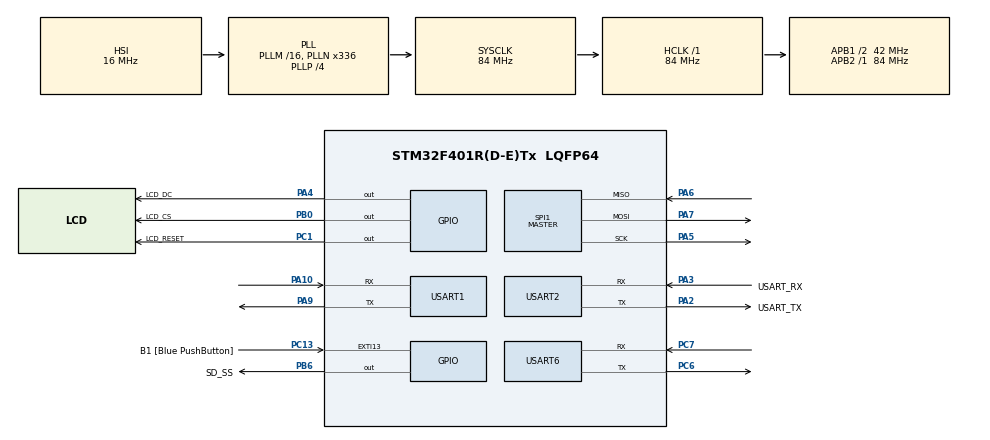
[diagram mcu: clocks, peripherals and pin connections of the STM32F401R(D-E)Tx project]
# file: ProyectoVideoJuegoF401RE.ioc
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FATFS._MAX_SS=4096
FATFS._USE_LFN=1
Mcu.Family=STM32F4
Mcu.Name=STM32F401R(D-E)Tx
Mcu.Package=LQFP64
NVIC.PriorityGroup=NVIC_PRIORITYGROUP_4
NVIC.USART1_IRQn=true\:0\:0\:false\:false\:true\:true\:true\:true
NVIC.USART6_IRQn=true\:0\:0\:false\:false\:true\:true\:true\:true
PA10.Mode=Asynchronous
PA10.Signal=USART1_RX
PA13.GPIO_Label=TMS
PA13.Mode=Trace_Asynchronous_SW
PA13.Signal=SYS_JTMS-SWDIO
PA14.GPIO_Label=TCK
PA14.Mode=Trace_Asynchronous_SW
PA14.Signal=SYS_JTCK-SWCLK
PA2.GPIO_Label=USART_TX
PA2.GPIO_Mode=GPIO_MODE_AF_PP
PA2.GPIO_PuPd=GPIO_NOPULL
PA2.GPIO_Speed=GPIO_SPEED_FREQ_LOW
PA2.Mode=Asynchronous
PA2.Signal=USART2_TX
PA3.GPIO_Label=USART_RX
PA3.GPIO_Mode=GPIO_MODE_AF_PP
PA3.GPIO_PuPd=GPIO_NOPULL
PA3.GPIO_Speed=GPIO_SPEED_FREQ_LOW
PA3.Mode=Asynchronous
PA3.Signal=USART2_RX
PA4.GPIO_Label=LCD_DC
PA4.Signal=GPIO_Output
PA5.Mode=Full_Duplex_Master
PA5.Signal=SPI1_SCK
PA6.Mode=Full_Duplex_Master
PA6.Signal=SPI1_MISO
PA7.Mode=Full_Duplex_Master
PA7.Signal=SPI1_MOSI
PA9.Mode=Asynchronous
PA9.Signal=USART1_TX
PB0.GPIO_Label=LCD_CS
PB0.Signal=GPIO_Output
PB3.GPIO_Label=SWO
PB3.Mode=Trace_Asynchronous_SW
PB3.Signal=SYS_JTDO-SWO
PB6.GPIO_Label=SD_SS
PB6.GPIO_Speed=GPIO_SPEED_FREQ_MEDIUM
PB6.PinState=GPIO_PIN_SET
PB6.Signal=GPIO_Output
PC1.GPIO_Label=LCD_RESET
PC1.Signal=GPIO_Output
PC13-ANTI_TAMP.GPIO_Label=B1 [Blue PushButton]
PC13-ANTI_TAMP.GPIO_ModeDefaultEXTI=GPIO_MODE_IT_FALLING
PC13-ANTI_TAMP.GPIO_PuPd=GPIO_NOPULL
PC13-ANTI_TAMP.Signal=GPXTI13
PC14-OSC32_IN.Mode=LSE-External-Oscillator
PC14-OSC32_IN.Signal=RCC_OSC32_IN
PC15-OSC32_OUT.Mode=LSE-External-Oscillator
PC15-OSC32_OUT.Signal=RCC_OSC32_OUT
PC6.Mode=Asynchronous
PC6.Signal=USART6_TX
PC7.Mode=Asynchronous
PC7.Signal=USART6_RX
PH0\ -\ OSC_IN.Mode=HSE-External-Clock-Source
PH0\ -\ OSC_IN.Signal=RCC_OSC_IN
PH1\ -\ OSC_OUT.Mode=HSE-External-Clock-Source
PH1\ -\ OSC_OUT.Signal=RCC_OSC_OUT
ProjectManager.HeapSize=0x200
ProjectManager.StackSize=0x400
ProjectManager.TargetToolchain=STM32CubeIDE
RCC.48MHZClocksFreq_Value=48000000
RCC.AHBFreq_Value=84000000
RCC.APB1CLKDivider=RCC_HCLK_DIV2
RCC.APB1Freq_Value=42000000
RCC.APB1TimFreq_Value=84000000
RCC.APB2Freq_Value=84000000
RCC.APB2TimFreq_Value=84000000
RCC.CortexFreq_Value=84000000
RCC.HCLKFreq_Value=84000000
RCC.HSE_VALUE=8000000
RCC.HSI_VALUE=16000000
RCC.PLLN=336
RCC.PLLP=RCC_PLLP_DIV4
RCC.PLLQ=7
RCC.SYSCLKFreq_VALUE=84000000
RCC.SYSCLKSource=RCC_SYSCLKSOURCE_PLLCLK
RCC.VCOOutputFreq_Value=336000000
SPI1.Direction=SPI_DIRECTION_2LINES
SPI1.Mode=SPI_MODE_MASTER
SPI1.VirtualType=VM_MASTER
USART1.VirtualMode=VM_ASYNC
USART2.VirtualMode=VM_ASYNC
USART6.VirtualMode=VM_ASYNC
VP_FATFS_VS_Generic.Mode=User_defined
board=NUCLEO-F401RE

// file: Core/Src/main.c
/* USER CODE BEGIN Header */
/**
  ******************************************************************************
  * @file           : main.c
  * @brief          : Main program body
  ******************************************************************************
  * @attention
  *
  * Copyright (c) 2026 STMicroelectronics.
  * All rights reserved.
  *
  * This software is licensed under terms that can be found in the LICENSE file
  * in the root directory of this software component.
  * If no LICENSE file comes with this software, it is provided AS-IS.
  *
  ******************************************************************************
  */
/* USER CODE END Header */
#include "main.h"
#include "fatfs.h"

/* USER CODE BEGIN Includes */
#include "ili9341.h"
#include "bitmaps.h"
#include <string.h>
#include <stdio.h>
#include "fatfs_sd.h"
#include "ff.h"
/* USER CODE END Includes */

SPI_HandleTypeDef hspi1;
//Definiciones de SD
FATFS fs;
FATFS *pfs;
FIL fil;
FRESULT fres;
DWORD fre_clust;
uint32_t totalSpace, freeSpace;
char buffer[100];

UART_HandleTypeDef huart1;
UART_HandleTypeDef huart2;
UART_HandleTypeDef huart6;

/* USER CODE BEGIN PV */
//Variables de comunicacion con controles UART1&3
char bufferU1[20];
uint8_t idx = 0;
uint8_t rx_char;
char bufferU6[20];
uint8_t idx6 = 0;
uint8_t rx_char6;
char linea[50];
//Banderas
volatile uint8_t newDataU1 = 0;
volatile uint8_t newDataU6 = 0;
uint8_t move=0;
//Variables de comunicacion con controles UART1&3
uint8_t bufferR[20];
uint8_t rxByte;
uint8_t rxIndex = 0;
uint8_t F_Start = 0;
uint8_t M1_F = 0;
uint8_t blqT[] = {32,192,64,16};
uint8_t sChange_F1 = 0;
uint8_t sChange_F2 = 0;
uint8_t Score1 = 0;
uint8_t Score2 = 0;
uint8_t moveFlag2=0;
//Variables de SD
uint8_t nivelA=0;
uint8_t countAAA=0;
//Sonidos
uint8_t moveFlag  = 0;
char    eventFlag = 'N';
uint8_t lastNivel = 0;
uint8_t lastMove  = 0;
char    lastEvent = 'N';
// Flags de juego
uint8_t plyrCount = 1;
uint8_t credit    = 0;
uint8_t GAMEWIN   = 0;
uint8_t llaveGet2 = 0;
uint8_t M2_F      = 0;
//Variables del juego
uint8_t llaveGet = 0;
uint16_t counterT = 0;
uint8_t dir = 0;
// Contador de tiempo para creditos
uint16_t creditTimer = 0;

// Cursor del menu
struct P_objeto cursor;
struct P_objeto cursorO;
struct P_objeto {
	uint16_t px;
	uint8_t py;
	uint8_t w;
	uint8_t h;
};

struct P_objeto PJ1;
struct P_objeto PJ1o;
// Jugador 2
struct P_objeto j2;
struct P_objeto j2o;
struct P_objeto blq1_PJ1;
struct P_objeto par1;
struct P_objeto par2;
struct P_objeto par3;
struct P_objeto par4;
struct P_objeto blq2_PJ1;
struct P_objeto blq3_PJ1;
struct P_objeto blq4_PJ1;
struct P_objeto blq5_PJ1;
struct P_objeto blq6_PJ1;
struct P_objeto blq7_PJ1;
struct P_objeto blq8_PJ1;
struct P_objeto blq9_PJ1;
struct P_objeto blq10_PJ1;
struct P_objeto blq11_PJ1;
struct P_objeto blq12_PJ1;
struct P_objeto blq13_PJ1;
struct P_objeto blq14_PJ1;
struct P_objeto blq15_PJ1;
struct P_objeto blq16_PJ1;
struct P_objeto blq17_PJ1;
struct P_objeto star1;
struct P_objeto llaveO;
struct P_objeto reja;
struct P_objeto spike1;
struct P_objeto spike2;
struct P_objeto mushroom1;
struct P_objeto shell1;
struct P_objeto shell2;
struct P_objeto shell3;
struct P_objeto shell4;
struct P_objeto shell5;
struct P_objeto shell6;
struct P_objeto shell7;
struct P_objeto shell8;
struct P_objeto par5;
/* USER CODE END PV */

void SystemClock_Config(void);
static void MX_GPIO_Init(void);
static void MX_SPI1_Init(void);
static void MX_USART1_UART_Init(void);
static void MX_USART2_UART_Init(void);
static void MX_USART6_UART_Init(void);
/* USER CODE BEGIN PFP */
uint8_t ColCheck(struct P_objeto ob1, struct P_objeto ob2);
void Draw_Level_Background(uint8_t nivel);
void transmitSonic(uint8_t nivel, uint8_t move, char event, char skin);
uint8_t ColCheckj2(struct P_objeto o1, struct P_objeto o2);
/* USER CODE END PFP */

/* USER CODE BEGIN 0 */
void transmitSonic(uint8_t nivel, uint8_t move, char event, char skin){
    char cadena[20];
    sprintf(cadena, "%d,%d,%c,%c\r\n", nivel, move, event, skin);
    HAL_UART_Transmit(&huart1, (uint8_t*)cadena, strlen(cadena), 200);
    countAAA++;
    if (countAAA==10){
    	HAL_UART_Transmit(&huart2, (uint8_t*)cadena, strlen(cadena), 200);
    	countAAA=0;
    }

}

void HAL_UART_RxCpltCallback(UART_HandleTypeDef *huart)
	{
	    if (huart->Instance == USART6)
	    {
	        if (rx_char6 == '\n') {
	            bufferU6[idx6] = '\0';
	            idx6 = 0;
	            newDataU6 = 1;
	        } else {
	            if (idx6 < sizeof(bufferU6) - 1)
	                bufferU6[idx6++] = rx_char6;
	        }

	        HAL_UART_Receive_IT(&huart6, &rx_char6, 1);
	    }
	    // USART1 - Jugador 2
	    if (huart->Instance == USART1)
	    {
	        if (rx_char == '\n') {
	            bufferU1[idx] = '\0';
	            idx = 0;
	            newDataU1 = 1;
	        } else {
	            if (idx < sizeof(bufferU1) - 1)
	                bufferU1[idx++] = rx_char;
	        }
	        HAL_UART_Receive_IT(&huart1, &rx_char, 1);
	    }
	}
/* USER CODE END 0 */

int main(void)
{

  /* USER CODE BEGIN 1 */
	// Cursor del menu

	PJ1.px = 128;
		PJ1.py = 208;
		PJ1.w = 16;
		PJ1.h = 16;

		PJ1o.px = 128;
		PJ1o.py = 208;
		PJ1o.w = 16;
		PJ1o.h = 16;

		blq1_PJ1.px = 32;
		blq1_PJ1.py = 192;
		blq1_PJ1.w = 64;
		blq1_PJ1.h = 16;

		blq2_PJ1.px = 64;
		blq2_PJ1.py = 176;
		blq2_PJ1.w = 64;
		blq2_PJ1.h = 16;

		blq3_PJ1.px = 64;
		blq3_PJ1.py = 160;
		blq3_PJ1.w = 16;
		blq3_PJ1.h = 16;

		blq4_PJ1.px = 32;
		blq4_PJ1.py = 128;
		blq4_PJ1.w = 16;
		blq4_PJ1.h = 48;

		blq5_PJ1.px = 48;
		blq5_PJ1.py = 128;
		blq5_PJ1.w = 16;
		blq5_PJ1.h = 16;

		blq6_PJ1.px = 80;
		blq6_PJ1.py = 144;
		blq6_PJ1.w = 48;
		blq6_PJ1.h = 16;

		blq7_PJ1.px = 112;
		blq7_PJ1.py = 112;
		blq7_PJ1.w = 16;
		blq7_PJ1.h = 48;

		blq8_PJ1.px = 64;
		blq8_PJ1.py = 96;
		blq8_PJ1.w = 16;
		blq8_PJ1.h = 48;

		blq9_PJ1.px = 32;
		blq9_PJ1.py = 80;
		blq9_PJ1.w = 16;
		blq9_PJ1.h = 32;

		blq10_PJ1.px = 48;
		blq10_PJ1.py = 80;
		blq10_PJ1.w = 16;
		blq10_PJ1.h = 16;

		blq11_PJ1.px = 80;
		blq11_PJ1.py = 80;
		blq11_PJ1.w = 16;
		blq11_PJ1.h = 48;

		blq12_PJ1.px = 96;
		blq12_PJ1.py = 80;
		blq12_PJ1.w = 32;
		blq12_PJ1.h = 16;

		blq13_PJ1.px = 112;
		blq13_PJ1.py = 48;
		blq13_PJ1.w = 16;
		blq13_PJ1.h = 32;

		blq14_PJ1.px = 128;
		blq14_PJ1.py = 32;
		blq14_PJ1.w = 16;
		blq14_PJ1.h = 16;

		blq15_PJ1.px = 32;
		blq15_PJ1.py = 48;
		blq15_PJ1.w = 64;
		blq15_PJ1.h = 16;

		blq16_PJ1.px = 32;
		blq16_PJ1.py = 16;
		blq16_PJ1.w = 80;
		blq16_PJ1.h = 16;

		blq17_PJ1.px = 80;
		blq17_PJ1.py = 32;
		blq17_PJ1.w = 16;
		blq17_PJ1.h = 16;

		par1.px = 0;
		par1.py = 0;
		par1.w = 144;
		par1.h = 16;

		par2.px = 0;
		par2.py = 16;
		par2.w = 16;
		par2.h = 208;

		par3.px = 0;
		par3.py = 224;
		par3.w = 144;
		par3.h = 16;

		par4.px = 144;
		par4.py = 0;
		par4.w = 32;
		par4.h = 240;

		star1.px = 128;
		star1.py = 16;
		star1.w = 16;
		star1.h = 16;
		//Juagor 2 y menu
		cursor.px = 112; cursor.py = 128; cursor.w = 16; cursor.h = 16;
		cursorO.px = 112; cursorO.py = 128; cursorO.w = 16; cursorO.h = 16;

		// Jugador 2
		j2.px = 288; j2.py = 208; j2.w = 16; j2.h = 16;
		j2o.px = 288; j2o.py = 208; j2o.w = 16; j2o.h = 16;

		// Paredes del lado derecho para j2
		par5.px = 304; par5.py = 16; par5.w = 16; par5.h = 240;

		//Lógica de nivel 2 y 3
		llaveO.px = 16;  llaveO.py = 192; llaveO.w = 16;  llaveO.h = 16;
		reja.px = 128;   reja.py = 192;   reja.w = 16;    reja.h = 16;
		spike1.px = 96;  spike1.py = 16;  spike1.w = 16;  spike1.h = 16;
		spike2.px = 32;  spike2.py = 64;  spike2.w = 16;  spike2.h = 16;

		mushroom1.px = 128; mushroom1.py = 208; mushroom1.h = 128; mushroom1.w = 128;

		shell1.px = 48;  shell1.py = 160; shell1.w = 16;  shell1.h = 16;
		shell2.px = 80;  shell2.py = 176; shell2.w = 16;  shell2.h = 16;
		shell3.px = 96;  shell3.py = 144; shell3.w = 16;  shell3.h = 16;
		shell4.px = 64;  shell4.py = 128; shell4.w = 16;  shell4.h = 16;
		shell5.px = 48;  shell5.py = 80;  shell5.w = 16;  shell5.h = 16;
		shell6.px = 80;  shell6.py = 96;  shell6.w = 16;  shell6.h = 16;
		shell7.px = 96;  shell7.py = 64;  shell7.w = 16;  shell7.h = 16;
		shell8.px = 64;  shell8.py = 48;  shell8.w = 16;  shell8.h = 16;

		// Bloques nivel 2
		struct P_objeto blq18_PJ1; // declarar arriba en PV también
		blq18_PJ1.px = 16;  blq18_PJ1.py = 16;  blq18_PJ1.w = 80;  blq18_PJ1.h = 16;
		// blq19 ya existe como blq16 en el doc2, renombrar o agregar:
		struct P_objeto blq19_PJ1;
		blq19_PJ1.px = 32;  blq19_PJ1.py = 16;  blq19_PJ1.w = 80;  blq19_PJ1.h = 16;

		struct P_objeto blq20_PJ1;
		blq20_PJ1.px = 48;  blq20_PJ1.py = 64;  blq20_PJ1.w = 64;  blq20_PJ1.h = 16;

		struct P_objeto blq21_PJ1;
		blq21_PJ1.px = 32;  blq21_PJ1.py = 96;  blq21_PJ1.w = 112; blq21_PJ1.h = 32;

		struct P_objeto blq22_PJ1;
		blq22_PJ1.px = 16;  blq22_PJ1.py = 144; blq22_PJ1.w = 112; blq22_PJ1.h = 16;

		struct P_objeto blq23_PJ1;
		blq23_PJ1.px = 112; blq23_PJ1.py = 192; blq23_PJ1.w = 16;  blq23_PJ1.h = 32;

		// Bloques nivel 3
		struct P_objeto blq24_PJ1;
		blq24_PJ1.px = 16;  blq24_PJ1.py = 16;  blq24_PJ1.w = 32;  blq24_PJ1.h = 208;

		struct P_objeto blq25_PJ1;
		blq25_PJ1.px = 112; blq25_PJ1.py = 16;  blq25_PJ1.w = 32;  blq25_PJ1.h = 208;

		struct P_objeto blq26_PJ1;
		blq26_PJ1.px = 48;  blq26_PJ1.py = 208; blq26_PJ1.w = 16;  blq26_PJ1.h = 16;

		struct P_objeto blq27_PJ1;
		blq27_PJ1.px = 96;  blq27_PJ1.py = 208; blq27_PJ1.w = 16;  blq27_PJ1.h = 16;

		struct P_objeto blq28_PJ1;
		blq28_PJ1.px = 64;  blq28_PJ1.py = 144; blq28_PJ1.w = 32;  blq28_PJ1.h = 32;

		struct P_objeto blq29_PJ1;
		blq29_PJ1.px = 64;  blq29_PJ1.py = 64;  blq29_PJ1.w = 32;  blq29_PJ1.h = 32;

		struct P_objeto blq30_PJ1;
		blq30_PJ1.px = 48;  blq30_PJ1.py = 112; blq30_PJ1.w = 16;  blq30_PJ1.h = 16;

		struct P_objeto blq31_PJ1;
		blq31_PJ1.px = 96;  blq31_PJ1.py = 112; blq31_PJ1.w = 16;  blq31_PJ1.h = 16;

		struct P_objeto blq32_PJ1;
		blq32_PJ1.px = 48;  blq32_PJ1.py = 16;  blq32_PJ1.w = 16;  blq32_PJ1.h = 32;

		struct P_objeto blq33_PJ1;
		blq33_PJ1.px = 96;  blq33_PJ1.py = 16;  blq33_PJ1.w = 16;  blq33_PJ1.h = 32;
  /* USER CODE END 1 */

  /* MCU Configuration--------------------------------------------------------*/

  /* Reset of all peripherals, Initializes the Flash interface and the Systick. */
  HAL_Init();

  /* Configure the system clock */
  SystemClock_Config();

  /* Initialize all configured peripherals */
  MX_GPIO_Init();
  MX_SPI1_Init();
  MX_USART1_UART_Init();
  MX_USART2_UART_Init();
  MX_USART6_UART_Init();
  MX_FATFS_Init();
  /* USER CODE BEGIN 2 */
  HAL_UART_Receive_IT(&huart2, &rxByte, 1);
  HAL_UART_Receive_IT(&huart1, &rx_char, 1);
  HAL_UART_Receive_IT(&huart6, &rx_char6, 1);

  LCD_Init();

  transmitSonic(0, 0, 'N', 0);

  Draw_Level_Background(nivelA);  // Mostrar el menu nómas inciar
  /* USER CODE END 2 */
  //LCD_Init();
 // LCD_Clear(0x0000);
  // Ahora dibujar el fondo desde SD ya leída, o bitmap en flash como fallback
  //LCD_Bitmap(112, 224, 16, 16, zero1);
  // Justo antes del while, define esta etiqueta de reset
  // Al final del bloque de boton B existente, cambia el goto por una llamada

  reset_menu:
      Score1    = 0;
      Score2    = 0;
      llaveGet  = 0;
      llaveGet2 = 0;
      counterT  = 0;
      dir       = 0;
      GAMEWIN   = 0;
      moveFlag  = 0;
      eventFlag = 'N';
      lastNivel = 0;
      lastMove  = 0;
      lastEvent = 'N';
      sChange_F1 = 0;
      sChange_F2 = 0;
      PJ1.px = 128; PJ1.py = 208;
      PJ1o.px = PJ1.px; PJ1o.py = PJ1.py;
      j2.px = 288; j2.py = 208;
      j2o.px = j2.px; j2o.py = j2.py;
      spike1.px = 96;  spike1.py = 16;
      spike2.px = 32;  spike2.py = 64;
      shell1.px = 48;  shell1.py = 160;
      shell2.px = 80;  shell2.py = 176;
      shell3.px = 96;  shell3.py = 144;
      shell4.px = 64;  shell4.py = 128;
      shell5.px = 48;  shell5.py = 80;
      shell6.px = 80;  shell6.py = 96;
      shell7.px = 96;  shell7.py = 64;
      shell8.px = 64;  shell8.py = 48;
      cursor.px  = 112; cursor.py  = 128;
      cursorO.px = 112; cursorO.py = 128;
      plyrCount  = 0;
      nivelA = 0;
      credit = 0;
      transmitSonic(0, 0, 'N', '0');
      Draw_Level_Background(0);

  /* Infinite loop */
  /* USER CODE BEGIN WHILE */
  while (1)
  {
	  // ============================================================
	  // CONTROLES
	  // ============================================================
	  if (GAMEWIN != 0){
	        // Esperar boton B de cualquier jugador para volver al menu
	        if (newDataU6)
	        {
	            newDataU6 = 0;
	            int U, R, L, D, X, A, B, Y;
	            sscanf(bufferU6, "P1:U%dR%dL%dD%dX%dA%dB%dY%d",
	                             &U, &R, &L, &D, &X, &A, &B, &Y);
	            if (B == 1) { GAMEWIN = 0; goto reset_menu; }
	        }
	        continue;  // no ejecutar nada mas del while
	    }

      if (newDataU6)
      {
          newDataU6 = 0;
          int U, R, L, D, X, A, B, Y;
          sscanf(bufferU6, "P1:U%dR%dL%dD%dX%dA%dB%dY%d",
                           &U, &R, &L, &D, &X, &A, &B, &Y);

          //Bloque para regresar al menu principal con el control

          if (B == 1) { GAMEWIN = 0; goto reset_menu; }

          if (nivelA==0 && credit==0){
        	  // Mover cursor arriba/abajo
			  if (D == 1) { cursor.py += 16; }
			  if (U == 1) { cursor.py -= 16; }

			  // Wrap del cursor entre las 3 opciones (py 128, 144, 160)
			  if (cursor.py > 160) { cursor.py = 128; }
			  if (cursor.py < 128) { cursor.py = 160; }

			  // Confirmar seleccion con boton X
			  if (X == 1) { F_Start = 1; }

			  M1_F = 1;
          }
          else if (credit == 0 && nivelA != 0)
		  {
        	  /* moveFlag solo si hubo input real del jugador */
			  if (D == 1 || U == 1 || L == 1 || R == 1)
			  {
				  if (D == 1) { PJ1.py += 16; }
				  if (U == 1) { PJ1.py -= 16; }
				  if (L == 1) { PJ1.px -= 16; }
				  if (R == 1) { PJ1.px += 16; }
				  moveFlag = 1;
			  }

			  // Colisiones y logica de niveles van aqui despues
			  // ...

		  }

     }

      // ============================================================
      // Segundo PLayer
      // ============================================================

      if (newDataU1)
	  {
              newDataU1 = 0;

              int U2, R2, L2, D2, X2, A2, B2, Y2;
              sscanf(bufferU1, "P2:U%dR%dL%dD%dX%dA%dB%dY%d",
                               &U2, &R2, &L2, &D2, &X2, &A2, &B2, &Y2);

              if (nivelA != 0 && credit == 0)
              {
            	  /* moveFlag solo si hubo input real del jugador */
				  if (D2 == 1 || U2 == 1 || L2 == 1 || R2 == 1)
				  {
					  if (D2 == 1) { j2.py += 16; }
					  if (U2 == 1) { j2.py -= 16; }
					  if (L2 == 1) { j2.px -= 16; }
					  if (R2 == 1) { j2.px += 16; }
					  moveFlag2=1;
				  }
              }

              uint8_t coli2  = 1;
              uint8_t coliW2 = 1;
              uint8_t coliK2 = 1;

              if (nivelA == 1)
              {
                  switch (j2.py)
                  {
                  case 224: coli2 &= ColCheckj2(j2, par3); break;
                  case 208:
                  case 192: coli2 &= ColCheckj2(j2, blq1_PJ1); break;
                  case 176: coli2 &= ColCheckj2(j2, blq2_PJ1); break;
                  case 160:
                      coli2 &= ColCheckj2(j2, blq3_PJ1);
                      coli2 &= ColCheckj2(j2, blq4_PJ1); break;
                  case 144:
                      coli2 &= ColCheckj2(j2, blq4_PJ1);
                      coli2 &= ColCheckj2(j2, blq6_PJ1); break;
                  case 128:
                      coli2 &= ColCheckj2(j2, blq4_PJ1);
                      coli2 &= ColCheckj2(j2, blq5_PJ1); break;
                  case 112:
                      coli2 &= ColCheckj2(j2, blq7_PJ1);
                      coli2 &= ColCheckj2(j2, blq11_PJ1); break;
                  case 96:
                      coli2 &= ColCheckj2(j2, blq9_PJ1);
                      coli2 &= ColCheckj2(j2, blq11_PJ1); break;
                  case 80:
                      coli2 &= ColCheckj2(j2, blq9_PJ1);
                      coli2 &= ColCheckj2(j2, blq10_PJ1);
                      coli2 &= ColCheckj2(j2, blq11_PJ1);
                      coli2 &= ColCheckj2(j2, blq12_PJ1); break;
                  case 64:
                      coli2 &= ColCheckj2(j2, blq11_PJ1);
                      coli2 &= ColCheckj2(j2, blq13_PJ1); break;
                  case 48:
                      coli2 &= ColCheckj2(j2, blq13_PJ1);
                      coli2 &= ColCheckj2(j2, blq15_PJ1); break;
                  case 32:
                      coli2 &= ColCheckj2(j2, blq14_PJ1);
                      coli2 &= ColCheckj2(j2, blq17_PJ1); break;
                  case 16:
                      coli2 &= ColCheckj2(j2, blq16_PJ1);
                      coliW2 &= ColCheckj2(j2, star1); break;
                  case 0: coli2 &= ColCheckj2(j2, par1); break;
                  }
              }
              else if (nivelA == 2)
              {
                  switch (j2.py)
                  {
                  case 224: coli2 &= ColCheckj2(j2, par3); break;
                  case 208:
                      coli2  &= ColCheckj2(j2, blq23_PJ1);
                      coliW2 &= ColCheckj2(j2, mushroom1);
                  case 192:
                      coli2  &= ColCheckj2(j2, blq23_PJ1);
                      coliK2 &= ColCheckj2(j2, llaveO);
                      if (llaveGet2 == 0) coli2 &= ColCheckj2(j2, reja);
                      break;
                  case 176:
                  case 160:
                  case 144: coli2 &= ColCheckj2(j2, blq22_PJ1); break;
                  case 128:
                  case 112:
                  case 96:  coli2 &= ColCheckj2(j2, blq21_PJ1); break;
                  case 80:  coli2 &= ColCheckj2(j2, spike2);
                  case 64:
                      coli2 &= ColCheckj2(j2, blq20_PJ1);
                      coli2 &= ColCheckj2(j2, spike2); break;
                  case 48:  coli2 &= ColCheckj2(j2, blq19_PJ1); break;
                  case 32:  coli2 &= ColCheckj2(j2, spike1);
                  case 16:
                      coli2 &= ColCheckj2(j2, blq18_PJ1);
                      coli2 &= ColCheckj2(j2, spike1);
                  case 0:   coli2 &= ColCheckj2(j2, par1); break;
                  }
                  if (coliK2 == 0) {llaveGet2 = 1;}
              }
              else if (nivelA == 3)
              {
                  uint8_t coliD2 = 1;
                  switch (j2.py)
                  {
                  case 224: coli2 &= ColCheckj2(j2, par3); break;
                  case 208:
                      coli2 &= ColCheckj2(j2, blq26_PJ1);
                      coli2 &= ColCheckj2(j2, blq27_PJ1);
                  case 192:
                  case 176:
                      coliD2 &= ColCheckj2(j2, shell1); coliD2 &= ColCheckj2(j2, shell2);
                      coliD2 &= ColCheckj2(j2, shell3); coliD2 &= ColCheckj2(j2, shell4); break;
                  case 160:
                  case 144:
                      coli2  &= ColCheckj2(j2, blq28_PJ1);
                      coliD2 &= ColCheckj2(j2, shell1); coliD2 &= ColCheckj2(j2, shell2);
                      coliD2 &= ColCheckj2(j2, shell3); coliD2 &= ColCheckj2(j2, shell4); break;
                  case 128:
                      coliD2 &= ColCheckj2(j2, shell1); coliD2 &= ColCheckj2(j2, shell2);
                      coliD2 &= ColCheckj2(j2, shell3); coliD2 &= ColCheckj2(j2, shell4); break;
                  case 112:
                      coli2 &= ColCheckj2(j2, blq30_PJ1);
                      coli2 &= ColCheckj2(j2, blq31_PJ1); break;
                  case 96:
                      coliD2 &= ColCheckj2(j2, shell5); coliD2 &= ColCheckj2(j2, shell6);
                      coliD2 &= ColCheckj2(j2, shell7); coliD2 &= ColCheckj2(j2, shell8); break;
                  case 80:
                      coli2  &= ColCheckj2(j2, blq29_PJ1);
                      coliD2 &= ColCheckj2(j2, shell5); coliD2 &= ColCheckj2(j2, shell6);
                      coliD2 &= ColCheckj2(j2, shell7); coliD2 &= ColCheckj2(j2, shell8); break;
                  case 64:
                      coli2  &= ColCheckj2(j2, blq29_PJ1);
                      coliD2 &= ColCheckj2(j2, shell5); coliD2 &= ColCheckj2(j2, shell6);
                      coliD2 &= ColCheckj2(j2, shell7); coliD2 &= ColCheckj2(j2, shell8); break;
                  case 48:
                      coliD2 &= ColCheckj2(j2, shell5); coliD2 &= ColCheckj2(j2, shell6);
                      coliD2 &= ColCheckj2(j2, shell7); coliD2 &= ColCheckj2(j2, shell8); break;
                  case 32:
                  case 16:
                      coli2 &= ColCheckj2(j2, blq32_PJ1);
                      coli2 &= ColCheckj2(j2, blq33_PJ1); break;
                  case 0: coli2 &= ColCheckj2(j2, par1); break;
                  }
                  coli2 &= ColCheckj2(j2, blq24_PJ1);
                  coli2 &= ColCheckj2(j2, blq25_PJ1);

                  if (coliD2 == 0)
                  {
                      j2.px = 244; j2.py = 208;
                      j2o.px = j2.px; j2o.py = j2.py;
                      moveFlag = 0;
                          /* Muerte j2 por shell — notificar con '1' */
                          eventFlag = 'K';
                          transmitSonic(nivelA, moveFlag, eventFlag, '1');
                  }
              }

              coli2 &= ColCheck(j2, par5);
              coli2 &= ColCheck(j2, par4);

              // Revertir posicion si colisiona
              if (coli2 == 0)
              {
                  j2.px = j2o.px;
                  j2.py = j2o.py;
                  transmitSonic(nivelA, 0, 'M', '1');
              }
              else { M2_F = 1; }

              if (coliW2 == 0) { sChange_F2 = 1; Score2++; }
          }

      // ============================================================
      // RENDER MENU
      // ============================================================
      if (nivelA == 0 && credit == 0)
      {
          // Dibujar cursor en posicion actual
          LCD_Sprite(cursor.px, cursor.py, 16, 16, slime, 1, 1, 0, 0);

          // Borrar posicion anterior del cursor
          if (M1_F == 1)
          {
              LCD_Bitmap(cursorO.px, cursorO.py, 16, 16, cursorT);
              cursorO.px = cursor.px;
              cursorO.py = cursor.py;
              M1_F = 0;
          }
      }

      // ============================================================
      // SELECCION DE MENU
      // ============================================================
      if (F_Start == 1)
      {
          F_Start = 0;

          if (cursor.py == 128)
          {
              // Opcion 1 — 1 jugador
              plyrCount = 1;

              nivelA = 1;
              transmitSonic(0, 0, 'S', '0');
              Draw_Level_Background(1);
              LCD_Bitmap(112, 224, 16, 16, zero1);
              PJ1.px = 128; PJ1.py = 208;
              PJ1o.px = PJ1.px; PJ1o.py = PJ1.py;
              transmitSonic(nivelA, 0, 'S', '0');

          }
          else if (cursor.py == 144)
          {
              // Opcion 2 — 2 jugadores
              plyrCount = 2;

              nivelA = 1;
              transmitSonic(0, 0, 'S', '0');
              Draw_Level_Background(1);
              LCD_Bitmap(112, 224, 16, 16, zero1);
              LCD_Bitmap(272, 224, 16, 16, zero1);
              PJ1.px = 128; PJ1.py = 208;
              PJ1o.px = PJ1.px; PJ1o.py = PJ1.py;
              transmitSonic(nivelA, 0, 'S', '0');
          }
          else if (cursor.py == 160)
          {
        	  // Creditos
        	  credit = 1;
        	  creditTimer = 0;
        	  transmitSonic(0, 0, 'S', '0');
        	  Draw_Level_Background(4);
          }
      }

      // ============================================================
      // TIMER CREDITOS — regresa al menu automaticamente
      // ============================================================
      if (credit > 0)
      {
          creditTimer++;
          // Tiempo de espera — ajusta el valor segun la velocidad de tu while
          if (creditTimer >= 5000)
          {
              credit     = 0;
              creditTimer = 0;
              nivelA     = 0;
              cursor.px  = 112; cursor.py  = 128;
              cursorO.px = 112; cursorO.py = 128;
              transmitSonic(0, 0, 'S', '0');
              Draw_Level_Background(0);
          }
      }

      // ============================================================
      // LOGICA DE NIVELES — placeholder hasta que la agreguemos
      // ============================================================
      if (nivelA != 0 && credit == 0)
      {
    	  // ============================
    	  // LOGICA DE COLISIONES
    	  // ============================
    	  if (PJ1o.py != PJ1.py || PJ1o.px != PJ1.px)
    	  {
    	      int8_t coli = 1;
    	      uint8_t coliW = 1;

    	      if (nivelA == 1)
    	      {
    	          switch (PJ1.py)
    	          {
    	          case 224: coli &= ColCheck(PJ1, par3); break;
    	          case 208:
    	          case 192: coli &= ColCheck(PJ1, blq1_PJ1); break;
    	          case 176: coli &= ColCheck(PJ1, blq2_PJ1); break;
    	          case 160:
    	              coli &= ColCheck(PJ1, blq3_PJ1);
    	              coli &= ColCheck(PJ1, blq4_PJ1); break;
    	          case 144:
    	              coli &= ColCheck(PJ1, blq4_PJ1);
    	              coli &= ColCheck(PJ1, blq6_PJ1); break;
    	          case 128:
    	              coli &= ColCheck(PJ1, blq4_PJ1);
    	              coli &= ColCheck(PJ1, blq5_PJ1); break;
    	          case 112:
    	              coli &= ColCheck(PJ1, blq7_PJ1);
    	              coli &= ColCheck(PJ1, blq11_PJ1); break;
    	          case 96:
    	              coli &= ColCheck(PJ1, blq9_PJ1);
    	              coli &= ColCheck(PJ1, blq11_PJ1); break;
    	          case 80:
    	              coli &= ColCheck(PJ1, blq9_PJ1);
    	              coli &= ColCheck(PJ1, blq10_PJ1);
    	              coli &= ColCheck(PJ1, blq11_PJ1);
    	              coli &= ColCheck(PJ1, blq12_PJ1); break;
    	          case 64:
    	              coli &= ColCheck(PJ1, blq11_PJ1);
    	              coli &= ColCheck(PJ1, blq13_PJ1); break;
    	          case 48:
    	              coli &= ColCheck(PJ1, blq13_PJ1);
    	              coli &= ColCheck(PJ1, blq15_PJ1); break;
    	          case 32:
    	              coli &= ColCheck(PJ1, blq14_PJ1);
    	              coli &= ColCheck(PJ1, blq17_PJ1); break;
    	          case 16:
    	              coli &= ColCheck(PJ1, blq16_PJ1);
    	              coliW &= ColCheck(PJ1, star1); break;
    	          case 0: coli &= ColCheck(PJ1, par1); break;
    	          }
    	      }
    	      else if (nivelA == 2)
    	      {
    	          uint8_t coliK = 1;
    	          switch (PJ1.py)
    	          {
    	          case 224: coli &= ColCheck(PJ1, par3); break;
    	          case 208:
    	              coli  &= ColCheck(PJ1, blq23_PJ1);
    	              coliW &= ColCheck(PJ1, mushroom1);
    	          case 192:
    	              coli  &= ColCheck(PJ1, blq23_PJ1);
    	              coliK &= ColCheck(PJ1, llaveO);
    	              if (llaveGet == 0) coli &= ColCheck(PJ1, reja);
    	              break;
    	          case 176:
    	          case 160:
    	          case 144: coli &= ColCheck(PJ1, blq22_PJ1); break;
    	          case 128:
    	          case 112:
    	          case 96:  coli &= ColCheck(PJ1, blq21_PJ1); break;
    	          case 80:  coli &= ColCheck(PJ1, spike2);
    	          case 64:
    	              coli &= ColCheck(PJ1, blq20_PJ1);
    	              coli &= ColCheck(PJ1, spike2); break;
    	          case 48:  coli &= ColCheck(PJ1, blq19_PJ1); break;
    	          case 32:  coli &= ColCheck(PJ1, spike1);
    	          case 16:
    	              coli &= ColCheck(PJ1, blq18_PJ1);
    	              coli &= ColCheck(PJ1, spike1);
    	          case 0:   coli &= ColCheck(PJ1, par1); break;
    	          }
    	          if (coliK == 0) llaveGet = 1;
    	      }
    	      else if (nivelA == 3)
    	      {
    	          uint8_t coliD = 1;
    	          switch (PJ1.py)
    	          {
    	          case 224: coli &= ColCheck(PJ1, par3); break;
    	          case 208:
    	              coli &= ColCheck(PJ1, blq26_PJ1);
    	              coli &= ColCheck(PJ1, blq27_PJ1);
    	          case 192:
    	          case 176:
    	              coliD &= ColCheck(PJ1, shell1); coliD &= ColCheck(PJ1, shell2);
    	              coliD &= ColCheck(PJ1, shell3); coliD &= ColCheck(PJ1, shell4); break;
    	          case 160:
    	          case 144:
    	              coli  &= ColCheck(PJ1, blq28_PJ1);
    	              coliD &= ColCheck(PJ1, shell1); coliD &= ColCheck(PJ1, shell2);
    	              coliD &= ColCheck(PJ1, shell3); coliD &= ColCheck(PJ1, shell4); break;
    	          case 128:
    	              coliD &= ColCheck(PJ1, shell1); coliD &= ColCheck(PJ1, shell2);
    	              coliD &= ColCheck(PJ1, shell3); coliD &= ColCheck(PJ1, shell4); break;
    	          case 112:
    	              coli &= ColCheck(PJ1, blq30_PJ1);
    	              coli &= ColCheck(PJ1, blq31_PJ1); break;
    	          case 96:
    	              coliD &= ColCheck(PJ1, shell5); coliD &= ColCheck(PJ1, shell6);
    	              coliD &= ColCheck(PJ1, shell7); coliD &= ColCheck(PJ1, shell8); break;
    	          case 80:
    	              coli  &= ColCheck(PJ1, blq29_PJ1);
    	              coliD &= ColCheck(PJ1, shell5); coliD &= ColCheck(PJ1, shell6);
    	              coliD &= ColCheck(PJ1, shell7); coliD &= ColCheck(PJ1, shell8); break;
    	          case 64:
    	              coli  &= ColCheck(PJ1, blq29_PJ1);
    	              coliD &= ColCheck(PJ1, shell5); coliD &= ColCheck(PJ1, shell6);
    	              coliD &= ColCheck(PJ1, shell7); coliD &= ColCheck(PJ1, shell8); break;
    	          case 48:
    	              coliD &= ColCheck(PJ1, shell5); coliD &= ColCheck(PJ1, shell6);
    	              coliD &= ColCheck(PJ1, shell7); coliD &= ColCheck(PJ1, shell8); break;
    	          case 32:
    	          case 16:
    	              coli &= ColCheck(PJ1, blq32_PJ1);
    	              coli &= ColCheck(PJ1, blq33_PJ1); break;
    	          case 0: coli &= ColCheck(PJ1, par1); break;
    	          }
    	          coli &= ColCheck(PJ1, blq24_PJ1);
    	          coli &= ColCheck(PJ1, blq25_PJ1);
    	          if (coliD == 0)
    	          {
    	              PJ1.px = 64; PJ1.py = 208;
    	              PJ1o.px = PJ1.px; PJ1o.py = PJ1.py;
    	          }
    	      }

    	      coli &= ColCheck(PJ1, par2);
    	      coli &= ColCheck(PJ1, par4);

    	      // Colision — revertir posicion ANTES de dibujar
    	      if (coli == 0)
    	      {
    	          PJ1.px = PJ1o.px;
    	          PJ1.py = PJ1o.py;
    	          moveFlag = 0;
    	          eventFlag = 'K';
    	      }

    	      if (coliW == 0) { sChange_F1 = 1; Score1++; }
    	  }

    	  // ============================
    	  // RENDER — siempre despues de colisiones
    	  // ============================
    	  LCD_Sprite(PJ1.px, PJ1.py, 16, 16, slime, 1, 1, 0, 0);

    	  // Limpiar casilla anterior solo si la posicion cambio
    	  if (PJ1o.px != PJ1.px || PJ1o.py != PJ1.py)
    	  {
    	      LCD_Bitmap(PJ1o.px, PJ1o.py, 16, 16, tile);
    	      PJ1o.px = PJ1.px;
    	      PJ1o.py = PJ1.py;
    	      M1_F = 0;
    	  }
    	  // ============================================================
    	  // RENDER JUGADOR 2 — fuera del if(newDataU1)
    	  // ============================================================
    	  if (nivelA != 0 && credit == 0 && plyrCount == 2)
    	  {
			   LCD_Sprite(j2.px, j2.py, 16, 16, slime2, 1, 1, 0, 0);

			   if (j2o.px != j2.px || j2o.py != j2.py)
			   {
				   LCD_Bitmap(j2o.px, j2o.py, 16, 16, tile);
				   j2o.px = j2.px;
				   j2o.py = j2.py;
				   M2_F = 0;
				   /* Movimiento real j2 — transmitir con '1' */
				   transmitSonic(nivelA, moveFlag2, 'N', '1');
				   moveFlag2 = 0;
			   }
		   }
			// ============================
			// CAMBIO DE NIVEL
			// ============================
    	  if (sChange_F1 == 1)
    	  {
    	      if (plyrCount == 1)
    	      {
    	          switch (Score1)
    	          {
    	          case 1:
    	              nivelA = 2;
    	              transmitSonic(0, 0, 'S', '0');
    	              Draw_Level_Background(nivelA);
    	              LCD_Bitmap(112, 224, 16, 16, uno1);
    	              LCD_Bitmap(llaveO.px, llaveO.py, 16, 16, llave);
    	              LCD_Bitmap(spike1.px, spike1.py, 16, 16, spikeS);
    	              LCD_Bitmap(spike2.px, spike2.py, 16, 16, spikeS);
    	              PJ1.px = 16; PJ1.py = 32;
    	              PJ1o.px = PJ1.px; PJ1o.py = PJ1.py;
    	              llaveGet = 0; counterT = 0;
    	              transmitSonic(nivelA, 0, 'S', '0');
    	              moveFlag = 2;
    	              break;
    	          case 2:
    	              nivelA = 3;
    	              transmitSonic(0, 0, 'S', '0');
    	              Draw_Level_Background(nivelA);
    	              LCD_Bitmap(112, 224, 16, 16, dos1);
    	              PJ1.px = 64; PJ1.py = 208;
    	              PJ1o.px = PJ1.px; PJ1o.py = PJ1.py;
    	              dir = 0; counterT = 0;
    	              transmitSonic(nivelA, 0, 'S', '0');
    	              moveFlag = 2;
    	              break;
    	          case 3:
    	              // Victoria jugador 1
    	              GAMEWIN = 1;
    	              transmitSonic(0, 0, 'S', '0');
    	              Draw_Level_Background(5); // niv5.bin = pantalla ganador j1
    	              break;
    	          }
    	      }
    	      else if (plyrCount == 2)
    	      {
    	          switch (Score1)
    	          {
    	          case 1:
    	              if (Score2 == 0)
    	              {
    	                  // Solo j1 termino nivel 1 — ambos pasan a nivel 2
    	                  nivelA = 2;
    	                  transmitSonic(0, 0, 'S', '0');
    	                  Draw_Level_Background(nivelA);
    	                  LCD_Bitmap(112, 224, 16, 16, uno1);
    	                  LCD_Bitmap(llaveO.px, llaveO.py, 16, 16, llave);
    	                  LCD_Bitmap(spike1.px, spike1.py, 16, 16, spikeS);
    	                  LCD_Bitmap(spike2.px, spike2.py, 16, 16, spikeS);
    	                  LCD_Bitmap(llaveO.px + 160, llaveO.py, 16, 16, llave);
    	                  LCD_Bitmap(spike1.px + 160, spike1.py, 16, 16, spikeS);
    	                  LCD_Bitmap(spike2.px + 160, spike2.py, 16, 16, spikeS);
    	                  PJ1.px = 16; PJ1.py = 32;
    	                  PJ1o.px = PJ1.px; PJ1o.py = PJ1.py;
    	                  j2.px = 176; j2.py = 32;
    	                  j2o.px = j2.px; j2o.py = j2.py;
    	                  llaveGet = 0; llaveGet2 = 0; counterT = 0;
    	                  transmitSonic(nivelA, 0, 'S', '0');
    	                  moveFlag = 2;
    	              }
    	              else
    	              {
    	                  // j2 ya termino nivel 1 antes — j1 llega a nivel 2 junto
    	                  nivelA = 3;
    	                  transmitSonic(0, 0, 'S', '0');
    	                  Draw_Level_Background(nivelA);
    	                  LCD_Bitmap(112, 224, 16, 16, uno1);
    	                  PJ1.px = 64; PJ1.py = 208;
    	                  PJ1o.px = PJ1.px; PJ1o.py = PJ1.py;
    	                  j2.px = 244; j2.py = 208;
    	                  j2o.px = j2.px; j2o.py = j2.py;
    	                  dir = 0; counterT = 0;
    	                  transmitSonic(nivelA, 0, 'S', '0');
    	                  moveFlag = 2;
    	              }
    	              break;
    	          case 2:
    	              GAMEWIN = 1;
    	              transmitSonic(0, 0, 'S', '0');
    	              Draw_Level_Background(5); // niv5.bin = pantalla ganador j1
    	              break;
    	          }
    	      }
    	      sChange_F1 = 0;
    	  }

    	  // Cambio de nivel por score jugador 2
    	  if (sChange_F2 == 1 && plyrCount == 2)
    	  {
    	      switch (Score2)
    	      {
    	      case 1:
    	          if (Score1 == 0)
    	          {
    	              // Solo j2 termino nivel 1 — ambos pasan a nivel 2
    	              nivelA = 2;
    	              transmitSonic(0, 0, 'S', '0');
    	              Draw_Level_Background(nivelA);
    	              LCD_Bitmap(272, 224, 16, 16, uno1);
    	              LCD_Bitmap(llaveO.px, llaveO.py, 16, 16, llave);
    	              LCD_Bitmap(spike1.px, spike1.py, 16, 16, spikeS);
    	              LCD_Bitmap(spike2.px, spike2.py, 16, 16, spikeS);
    	              LCD_Bitmap(llaveO.px + 160, llaveO.py, 16, 16, llave);
    	              LCD_Bitmap(spike1.px + 160, spike1.py, 16, 16, spikeS);
    	              LCD_Bitmap(spike2.px + 160, spike2.py, 16, 16, spikeS);
    	              PJ1.px = 16; PJ1.py = 32;
    	              PJ1o.px = PJ1.px; PJ1o.py = PJ1.py;
    	              j2.px = 176; j2.py = 32;
    	              j2o.px = j2.px; j2o.py = j2.py;
    	              llaveGet = 0; llaveGet2 = 0; counterT = 0;
    	              transmitSonic(nivelA, 0, 'S', '0');
    	              moveFlag = 2;
    	          }
    	          else
    	          {
    	              // j1 ya termino nivel 1 — j2 llega junto
    	              nivelA = 3;
    	              transmitSonic(0, 0, 'S', '0');
    	              Draw_Level_Background(nivelA);
    	              LCD_Bitmap(272, 224, 16, 16, uno1);
    	              PJ1.px = 64; PJ1.py = 208;
    	              PJ1o.px = PJ1.px; PJ1o.py = PJ1.py;
    	              j2.px = 244; j2.py = 208;
    	              j2o.px = j2.px; j2o.py = j2.py;
    	              dir = 0; counterT = 0;
    	              transmitSonic(nivelA, 0, 'S', '0');
    	              moveFlag = 2;
    	          }
    	          break;
    	      case 2:
    	          GAMEWIN = 2;
    	          transmitSonic(0, 0, 'S', '0');
    	          Draw_Level_Background(6); // niv6.bin = pantalla ganador j2
    	          break;
    	      }
    	      sChange_F2 = 0;
    	  }

    	  if (nivelA == 2)
    	  {
    	      counterT++;
    	      if (counterT == 150)
    	      {
    	          LCD_Bitmap(spike1.px, spike1.py, 16, 16, tile);
    	          LCD_Bitmap(spike2.px, spike2.py, 16, 16, tile);
    	          if (plyrCount == 2)
    	          {
    	              LCD_Bitmap(spike1.px + 160, spike1.py, 16, 16, tile);
    	              LCD_Bitmap(spike2.px + 160, spike2.py, 16, 16, tile);
    	          }

    	          if (spike1.py == 16) { spike1.py += 16; spike2.py += 16; }
    	          else                 { spike1.py -= 16; spike2.py -= 16; }

    	          LCD_Bitmap(spike1.px, spike1.py, 16, 16, spikeS);
    	          LCD_Bitmap(spike2.px, spike2.py, 16, 16, spikeS);
    	          if (plyrCount == 2)
    	          {
    	              LCD_Bitmap(spike1.px + 160, spike1.py, 16, 16, spikeS);
    	              LCD_Bitmap(spike2.px + 160, spike2.py, 16, 16, spikeS);
    	          }

    	          // Colision spikes con PJ1
    	          uint8_t coli1 = 1;
    	          coli1 &= ColCheck(PJ1, spike1);
    	          coli1 &= ColCheck(PJ1, spike2);
    	          if (coli1 == 0)
    	          {
    	              PJ1.px = 16; PJ1.py = 32;
    	              PJ1o.px = PJ1.px; PJ1o.py = PJ1.py;
    	              moveFlag = 2;
    	              transmitSonic(nivelA, 0, 'M', '0');
    	          }

    	          // Colision spikes con j2
    	          if (plyrCount == 2)
    	          {
    	              uint8_t coli2 = 1;
    	              coli2 &= ColCheckj2(j2, spike1);
    	              coli2 &= ColCheckj2(j2, spike2);
    	              if (coli2 == 0)
    	              {
    	                  j2.px = 176; j2.py = 32;
    	                  j2o.px = j2.px; j2o.py = j2.py;
    	              }
    	          }

    	          counterT = 0;
    	      }
    	  }
			// ============================
			// ENEMIGOS NIVEL 3 - SHELLS
			// ============================
			else if (nivelA == 3) {
				counterT++;
				if (counterT == 250) {
					LCD_Bitmap(shell1.px,shell1.py,16,16,tile); LCD_Bitmap(shell2.px,shell2.py,16,16,tile);
					LCD_Bitmap(shell3.px,shell3.py,16,16,tile); LCD_Bitmap(shell4.px,shell4.py,16,16,tile);
					LCD_Bitmap(shell5.px,shell5.py,16,16,tile); LCD_Bitmap(shell6.px,shell6.py,16,16,tile);
					LCD_Bitmap(shell7.px,shell7.py,16,16,tile); LCD_Bitmap(shell8.px,shell8.py,16,16,tile);
					switch (dir) {
					case 0:
						shell1.py-=16; shell2.px-=16; shell3.py+=16; shell4.px+=16;
						shell5.py-=16; shell6.px-=16; shell7.py+=16; shell8.px+=16;
						if (shell1.py == 128) dir = 1;
						break;
					case 1:
						shell1.px+=16; shell2.py-=16; shell3.px-=16; shell4.py+=16;
						shell5.px+=16; shell6.py-=16; shell7.px-=16; shell8.py+=16;
						if (shell1.px == 96) dir = 2;
						break;
					case 2:
						shell1.py+=16; shell2.px+=16; shell3.py-=16; shell4.px-=16;
						shell5.py+=16; shell6.px+=16; shell7.py-=16; shell8.px-=16;
						if (shell1.py == 176) dir = 3;
						break;
					case 3:
						shell1.px-=16; shell2.py+=16; shell3.px+=16; shell4.py-=16;
						shell5.px-=16; shell6.py+=16; shell7.px+=16; shell8.py-=16;
						if (shell1.px == 48) dir = 0;
						break;
					}
					LCD_Bitmap(shell1.px,shell1.py,16,16,shellS); LCD_Bitmap(shell2.px,shell2.py,16,16,shellS);
					LCD_Bitmap(shell3.px,shell3.py,16,16,shellS); LCD_Bitmap(shell4.px,shell4.py,16,16,shellS);
					LCD_Bitmap(shell5.px,shell5.py,16,16,shellS); LCD_Bitmap(shell6.px,shell6.py,16,16,shellS);
					LCD_Bitmap(shell7.px,shell7.py,16,16,shellS); LCD_Bitmap(shell8.px,shell8.py,16,16,shellS);
					uint8_t coliD = 1;
					coliD &= ColCheck(PJ1,shell1); coliD &= ColCheck(PJ1,shell2);
					coliD &= ColCheck(PJ1,shell3); coliD &= ColCheck(PJ1,shell4);
					coliD &= ColCheck(PJ1,shell5); coliD &= ColCheck(PJ1,shell6);
					coliD &= ColCheck(PJ1,shell7); coliD &= ColCheck(PJ1,shell8);
					if (coliD == 0) {
						// Jugador murio por shell — respawn y notificar
						PJ1.px = 64; PJ1.py = 208;
						PJ1o.px = PJ1.px; PJ1o.py = PJ1.py;
						moveFlag = 2;
						transmitSonic(nivelA, moveFlag, 'M', '0');  // muerte por shell
					}
					counterT = 0;
				}
			}

      // ============================================================
      // TRANSMISION DE ESTADO
      // ============================================================
      if (nivelA != 0 && credit == 0)
      {
          if (moveFlag != 2)
          {
              if (nivelA != lastNivel || moveFlag != lastMove || eventFlag != lastEvent)
              {
                  transmitSonic(nivelA, moveFlag, eventFlag, '0');
                  lastNivel = nivelA;
                  lastMove  = moveFlag;
                  lastEvent = eventFlag;
              }
              moveFlag  = 0;
              eventFlag = 'N';
          }
          else
          {
              moveFlag  = 0;
              eventFlag = 'N';
              lastEvent = 'N';
          }
      }
    }

  } // fin while
}
void SystemClock_Config(void)
{
  RCC_OscInitTypeDef RCC_OscInitStruct = {0};
  RCC_ClkInitTypeDef RCC_ClkInitStruct = {0};

  /** Configure the main internal regulator output voltage
  */
  __HAL_RCC_PWR_CLK_ENABLE();
  __HAL_PWR_VOLTAGESCALING_CONFIG(PWR_REGULATOR_VOLTAGE_SCALE2);

  /** Initializes the RCC Oscillators according to the specified parameters
  * in the RCC_OscInitTypeDef structure.
  */
  RCC_OscInitStruct.OscillatorType = RCC_OSCILLATORTYPE_HSI;
  RCC_OscInitStruct.HSIState = RCC_HSI_ON;
  RCC_OscInitStruct.HSICalibrationValue = RCC_HSICALIBRATION_DEFAULT;
  RCC_OscInitStruct.PLL.PLLState = RCC_PLL_ON;
  RCC_OscInitStruct.PLL.PLLSource = RCC_PLLSOURCE_HSI;
  RCC_OscInitStruct.PLL.PLLM = 16;
  RCC_OscInitStruct.PLL.PLLN = 336;
  RCC_OscInitStruct.PLL.PLLP = RCC_PLLP_DIV4;
  RCC_OscInitStruct.PLL.PLLQ = 7;
  if (HAL_RCC_OscConfig(&RCC_OscInitStruct) != HAL_OK)
  {
    Error_Handler();
  }

  /** Initializes the CPU, AHB and APB buses clocks
  */
  RCC_ClkInitStruct.ClockType = RCC_CLOCKTYPE_HCLK|RCC_CLOCKTYPE_SYSCLK
                              |RCC_CLOCKTYPE_PCLK1|RCC_CLOCKTYPE_PCLK2;
  RCC_ClkInitStruct.SYSCLKSource = RCC_SYSCLKSOURCE_PLLCLK;
  RCC_ClkInitStruct.AHBCLKDivider = RCC_SYSCLK_DIV1;
  RCC_ClkInitStruct.APB1CLKDivider = RCC_HCLK_DIV2;
  RCC_ClkInitStruct.APB2CLKDivider = RCC_HCLK_DIV1;

  if (HAL_RCC_ClockConfig(&RCC_ClkInitStruct, FLASH_LATENCY_2) != HAL_OK)
  {
    Error_Handler();
  }
}

static void MX_SPI1_Init(void)
{

  /* SPI1 parameter configuration*/
  hspi1.Instance = SPI1;
  hspi1.Init.Mode = SPI_MODE_MASTER;
  hspi1.Init.Direction = SPI_DIRECTION_2LINES;
  hspi1.Init.DataSize = SPI_DATASIZE_8BIT;
  hspi1.Init.CLKPolarity = SPI_POLARITY_LOW;
  hspi1.Init.CLKPhase = SPI_PHASE_1EDGE;
  hspi1.Init.NSS = SPI_NSS_SOFT;
  hspi1.Init.BaudRatePrescaler = SPI_BAUDRATEPRESCALER_2;
  hspi1.Init.FirstBit = SPI_FIRSTBIT_MSB;
  hspi1.Init.TIMode = SPI_TIMODE_DISABLE;
  hspi1.Init.CRCCalculation = SPI_CRCCALCULATION_DISABLE;
  hspi1.Init.CRCPolynomial = 10;
  if (HAL_SPI_Init(&hspi1) != HAL_OK)
  {
    Error_Handler();
  }

}

static void MX_USART1_UART_Init(void)
{

  huart1.Instance = USART1;
  huart1.Init.BaudRate = 115200;
  huart1.Init.WordLength = UART_WORDLENGTH_8B;
  huart1.Init.StopBits = UART_STOPBITS_1;
  huart1.Init.Parity = UART_PARITY_NONE;
  huart1.Init.Mode = UART_MODE_TX_RX;
  huart1.Init.HwFlowCtl = UART_HWCONTROL_NONE;
  huart1.Init.OverSampling = UART_OVERSAMPLING_16;
  if (HAL_UART_Init(&huart1) != HAL_OK)
  {
    Error_Handler();
  }

}

static void MX_USART2_UART_Init(void)
{

  huart2.Instance = USART2;
  huart2.Init.BaudRate = 115200;
  huart2.Init.WordLength = UART_WORDLENGTH_8B;
  huart2.Init.StopBits = UART_STOPBITS_1;
  huart2.Init.Parity = UART_PARITY_NONE;
  huart2.Init.Mode = UART_MODE_TX_RX;
  huart2.Init.HwFlowCtl = UART_HWCONTROL_NONE;
  huart2.Init.OverSampling = UART_OVERSAMPLING_16;
  if (HAL_UART_Init(&huart2) != HAL_OK)
  {
    Error_Handler();
  }

}

static void MX_USART6_UART_Init(void)
{

  huart6.Instance = USART6;
  huart6.Init.BaudRate = 115200;
  huart6.Init.WordLength = UART_WORDLENGTH_8B;
  huart6.Init.StopBits = UART_STOPBITS_1;
  huart6.Init.Parity = UART_PARITY_NONE;
  huart6.Init.Mode = UART_MODE_TX_RX;
  huart6.Init.HwFlowCtl = UART_HWCONTROL_NONE;
  huart6.Init.OverSampling = UART_OVERSAMPLING_16;
  if (HAL_UART_Init(&huart6) != HAL_OK)
  {
    Error_Handler();
  }

}

static void MX_GPIO_Init(void)
{
  GPIO_InitTypeDef GPIO_InitStruct = {0};

  /* GPIO Ports Clock Enable */
  __HAL_RCC_GPIOC_CLK_ENABLE();
  __HAL_RCC_GPIOH_CLK_ENABLE();
  __HAL_RCC_GPIOA_CLK_ENABLE();
  __HAL_RCC_GPIOB_CLK_ENABLE();

  /*Configure GPIO pin Output Level */
  HAL_GPIO_WritePin(LCD_RESET_GPIO_Port, LCD_RESET_Pin, GPIO_PIN_RESET);

  /*Configure GPIO pin Output Level */
  HAL_GPIO_WritePin(LCD_DC_GPIO_Port, LCD_DC_Pin, GPIO_PIN_RESET);

  /*Configure GPIO pin Output Level */
  HAL_GPIO_WritePin(LCD_CS_GPIO_Port, LCD_CS_Pin, GPIO_PIN_RESET);

  /*Configure GPIO pin Output Level */
  HAL_GPIO_WritePin(SD_SS_GPIO_Port, SD_SS_Pin, GPIO_PIN_SET);

  /*Configure GPIO pin : B1_Pin */
  GPIO_InitStruct.Pin = B1_Pin;
  GPIO_InitStruct.Mode = GPIO_MODE_IT_FALLING;
  GPIO_InitStruct.Pull = GPIO_NOPULL;
  HAL_GPIO_Init(B1_GPIO_Port, &GPIO_InitStruct);

  /*Configure GPIO pin : LCD_RESET_Pin */
  GPIO_InitStruct.Pin = LCD_RESET_Pin;
  GPIO_InitStruct.Mode = GPIO_MODE_OUTPUT_PP;
  GPIO_InitStruct.Pull = GPIO_NOPULL;
  GPIO_InitStruct.Speed = GPIO_SPEED_FREQ_LOW;
  HAL_GPIO_Init(LCD_RESET_GPIO_Port, &GPIO_InitStruct);

  /*Configure GPIO pin : LCD_DC_Pin */
  GPIO_InitStruct.Pin = LCD_DC_Pin;
  GPIO_InitStruct.Mode = GPIO_MODE_OUTPUT_PP;
  GPIO_InitStruct.Pull = GPIO_NOPULL;
  GPIO_InitStruct.Speed = GPIO_SPEED_FREQ_LOW;
  HAL_GPIO_Init(LCD_DC_GPIO_Port, &GPIO_InitStruct);

  /*Configure GPIO pin : LCD_CS_Pin */
  GPIO_InitStruct.Pin = LCD_CS_Pin;
  GPIO_InitStruct.Mode = GPIO_MODE_OUTPUT_PP;
  GPIO_InitStruct.Pull = GPIO_NOPULL;
  GPIO_InitStruct.Speed = GPIO_SPEED_FREQ_LOW;
  HAL_GPIO_Init(LCD_CS_GPIO_Port, &GPIO_InitStruct);

  /*Configure GPIO pin : SD_SS_Pin */
  GPIO_InitStruct.Pin = SD_SS_Pin;
  GPIO_InitStruct.Mode = GPIO_MODE_OUTPUT_PP;
  GPIO_InitStruct.Pull = GPIO_NOPULL;
  GPIO_InitStruct.Speed = GPIO_SPEED_FREQ_MEDIUM;
  HAL_GPIO_Init(SD_SS_GPIO_Port, &GPIO_InitStruct);

}

/* USER CODE BEGIN 4 */
uint8_t ColCheck(struct P_objeto o1, struct P_objeto o2)
{
	if (((o1.px + o1.w - 1)>= o2.px) && ((o2.px + o2.w - 1)>= o1.px) && ((o1.py + o1.h - 1)>= o2.py) && ((o2.py + o2.h - 1)>= o1.py))
	{
		return 0;
	}
	else{
		return 1;
	}
}
uint8_t ColCheckj2(struct P_objeto o1, struct P_objeto o2)
{
    uint16_t ajuste = o2.px + 160;
    if ((o1.px + o1.w - 1 >= ajuste) && (ajuste + o2.w - 1 >= o1.px) &&
        (o1.py + o1.h - 1 >= o2.py) && (o2.py + o2.h - 1 >= o1.py))
        return 0;
    else
        return 1;
}
/* USER CODE BEGIN 4 */

/**
 * @brief Dibuja el fondo del nivel leyendo el archivo .bin desde la SD
 * @param nivel: número de nivel (1, 2, 3, ...)
 *               Busca archivos: niv1.bin, niv2.bin, niv3.bin, etc.
 */
/*
void Draw_Level_Background(uint8_t nivel)
{
    switch(nivel)
    {
        case 1:
            LCD_Bitmap(0, 0, 320, 240, niv1);
            break;
        case 2:
            LCD_Bitmap(0, 0, 320, 240, niv2);
            break;
        case 3:
            LCD_Bitmap(0, 0, 320, 240, niv3);
            break;
        default:
            LCD_Clear(0x0000);
            break;
    }
}
*/

void Draw_Level_Background(uint8_t nivel)
{
    char dbg[80];
    char filename[20];

    if (nivel==4){
    	sprintf(filename, "creditos.bin" );
    }
    else if (nivel==5){
    	sprintf(filename, "HS.bin" );
    }
    else {
    	sprintf(filename, "niv%d.bin", nivel);
    }
    // ============================
    // 1. SPI LENTO - INIT SD
    // ============================
    HAL_GPIO_WritePin(LCD_CS_GPIO_Port, LCD_CS_Pin, GPIO_PIN_SET);
    HAL_GPIO_WritePin(SD_SS_GPIO_Port, SD_SS_Pin, GPIO_PIN_SET);
    HAL_Delay(500);

    hspi1.Init.BaudRatePrescaler = SPI_BAUDRATEPRESCALER_8;
    HAL_SPI_Init(&hspi1);
    //HAL_Delay(100);

    // ============================
    // 2. MONTAR SD
    // ============================
    FATFS fs_lvl;
    FRESULT res = f_mount(&fs_lvl, "/", 0);
    sprintf(dbg, "Mount: %d\r\n", res);
    HAL_UART_Transmit(&huart2, (uint8_t*)dbg, strlen(dbg), 200);

    if (res != FR_OK) {
        sprintf(dbg, "SD FAIL\r\n");
        HAL_UART_Transmit(&huart2, (uint8_t*)dbg, strlen(dbg), 200);
        return; // No colgamos el micro, solo salimos
    }

    // Subir velocidad para lectura
    hspi1.Init.BaudRatePrescaler = SPI_BAUDRATEPRESCALER_8;
    HAL_SPI_Init(&hspi1);

    // ============================
    // 3. ABRIR ARCHIVO DEL NIVEL
    // ============================
    FIL imgFile;
    res = f_open(&imgFile, filename, FA_READ | FA_OPEN_EXISTING);
    sprintf(dbg, "Open %s: %d\r\n", filename, res);
    HAL_UART_Transmit(&huart2, (uint8_t*)dbg, strlen(dbg), 200);

    if (res != FR_OK) {
        sprintf(dbg, "Archivo %s no encontrado\r\n", filename);
        HAL_UART_Transmit(&huart2, (uint8_t*)dbg, strlen(dbg), 200);
        f_mount(NULL, "", 0);
        return;
    }

    // Buffer de una fila
        static uint16_t rowBuf[320];

        for (int row = 0; row < 240; row++)
        {
            // Leer fila a prescaler 8 con SD activa
            HAL_GPIO_WritePin(LCD_CS_GPIO_Port, LCD_CS_Pin, GPIO_PIN_SET);
            HAL_GPIO_WritePin(SD_SS_GPIO_Port, SD_SS_Pin, GPIO_PIN_RESET);

            UINT bytesRead = 0;
            f_read(&imgFile, rowBuf, 640, &bytesRead);

            // SD inactiva antes de tocar LCD
            HAL_GPIO_WritePin(SD_SS_GPIO_Port, SD_SS_Pin, GPIO_PIN_SET);

            // Cambiar a prescaler 2 para LCD
            hspi1.Init.BaudRatePrescaler = SPI_BAUDRATEPRESCALER_2;
            HAL_SPI_Init(&hspi1);

            // Dibujar fila
            SetWindows(0, row, 319, row);
            HAL_GPIO_WritePin(LCD_CS_GPIO_Port, LCD_CS_Pin, GPIO_PIN_RESET);
            HAL_GPIO_WritePin(LCD_DC_GPIO_Port, LCD_DC_Pin, GPIO_PIN_SET);

            for (int i = 0; i < 320; i++) {
            	uint8_t lo = rowBuf[i] & 0xFF;
                uint8_t hi = rowBuf[i] >> 8;
                HAL_SPI_Transmit(&hspi1, &lo, 1, 1);
                HAL_SPI_Transmit(&hspi1, &hi, 1, 1);

            }
            HAL_GPIO_WritePin(LCD_CS_GPIO_Port, LCD_CS_Pin, GPIO_PIN_SET);

            // Volver a prescaler 8 para SD
            hspi1.Init.BaudRatePrescaler = SPI_BAUDRATEPRESCALER_8;
            HAL_SPI_Init(&hspi1);
        }

        // Cerrar SD
        f_close(&imgFile);
        f_mount(NULL, "/", 0);
        HAL_GPIO_WritePin(SD_SS_GPIO_Port, SD_SS_Pin, GPIO_PIN_SET);

        sprintf(dbg, "Nivel %d OK\r\n", nivel);
        HAL_UART_Transmit(&huart2, (uint8_t*)dbg, strlen(dbg), 200);

        // Dejar SPI a velocidad pantalla
        hspi1.Init.BaudRatePrescaler = SPI_BAUDRATEPRESCALER_2;
        HAL_SPI_Init(&hspi1);
        HAL_GPIO_WritePin(LCD_CS_GPIO_Port, LCD_CS_Pin, GPIO_PIN_RESET);
}

/* USER CODE END 4 */
/* USER CODE END 4 */

void Error_Handler(void)
{
  /* USER CODE BEGIN Error_Handler_Debug */
  /* User can add his own implementation to report the HAL error return state */
  __disable_irq();
  while (1)
  {
  }
  /* USER CODE END Error_Ha	ndler_Debug */
}
